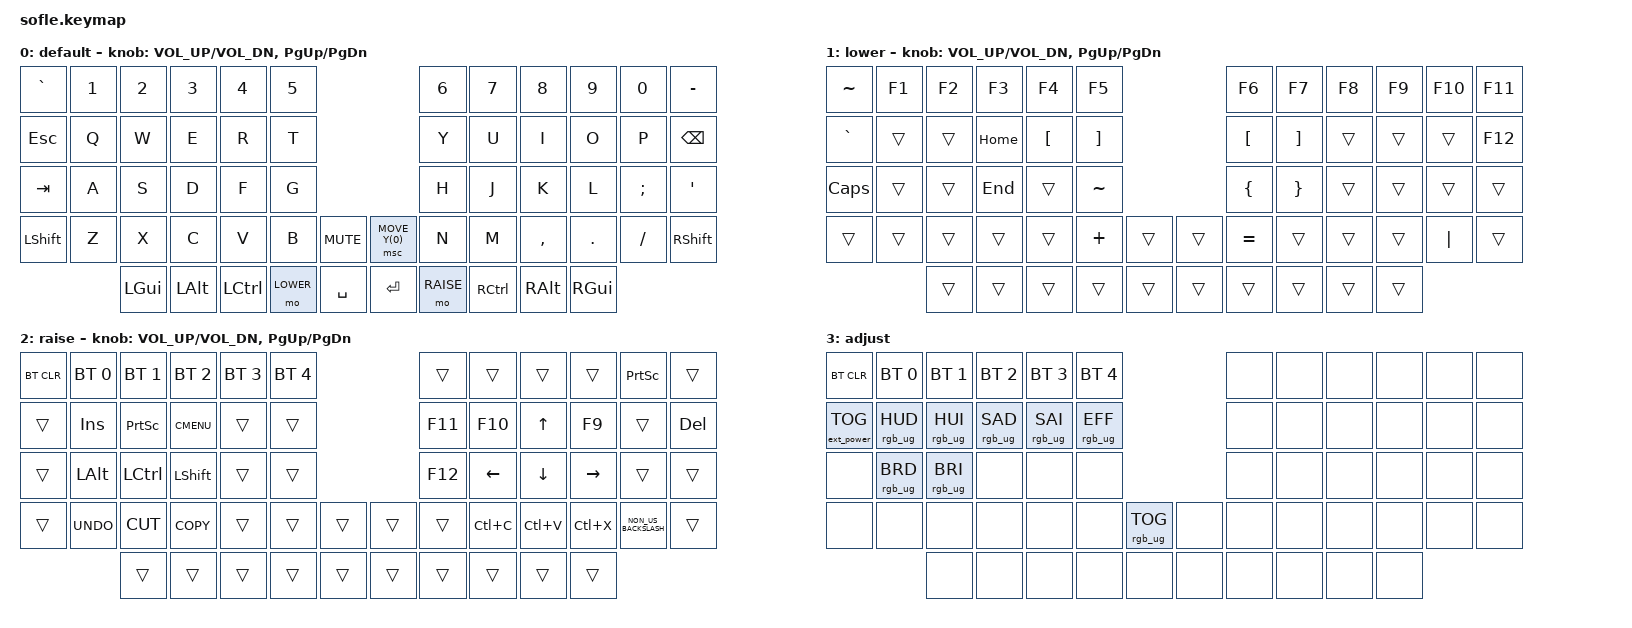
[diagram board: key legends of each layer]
/*
 * Copyright (c) 2020 The ZMK Contributors
 *
 * SPDX-License-Identifier: MIT
 */

#include <behaviors.dtsi>
#include <dt-bindings/zmk/bt.h>
#include <dt-bindings/zmk/ext_power.h>
#include <dt-bindings/zmk/keys.h>
#include <dt-bindings/zmk/pointing.h>
#include <dt-bindings/zmk/rgb.h>

#define BASE 0
#define LOWER 1
#define RAISE 2
#define ADJUST 3

/ {
    // Activate ADJUST layer by pressing raise and lower

    conditional_layers {
        compatible = "zmk,conditional-layers";

        adjust_layer {
            if-layers = <LOWER RAISE>;
            then-layer = <ADJUST>;
        };
    };

    keymap {
        compatible = "zmk,keymap";

        default_layer {
            display-name = "default";

            // ------------------------------------------------------------------------------------------------------------
            // |   `   |  1  |  2  |  3   |  4   |  5   |                   |  6   |  7    |  8    |  9   |   0   |       |
            // |  ESC  |  Q  |  W  |  E   |  R   |  T   |                   |  Y   |  U    |  I    |  O   |   P   | BKSPC |
            // |  TAB  |  A  |  S  |  D   |  F   |  G   |                   |  H   |  J    |  K    |  L   |   ;   |   '   |
            // | SHIFT |  Z  |  X  |  C   |  V   |  B   |  MUTE  |  |       |  N   |  M    |  ,    |  .   |   /   | SHIFT |
            //               | GUI | ALT  | CTRL | LOWER|  ENTER |  | SPACE | RAISE| CTRL  | ALT   | GUI  |

            bindings = <
&kp GRAVE  &kp N1  &kp N2    &kp N3    &kp N4     &kp N5                                   &kp N6     &kp N7     &kp N8     &kp N9    &kp N0    &kp MINUS
&kp ESC    &kp Q   &kp W     &kp E     &kp R      &kp T                                    &kp Y      &kp U      &kp I      &kp O     &kp P     &kp BSPC
&kp TAB    &kp A   &kp S     &kp D     &kp F      &kp G                                    &kp H      &kp J      &kp K      &kp L     &kp SEMI  &kp SQT
&kp LSHFT  &kp Z   &kp X     &kp C     &kp V      &kp B      &kp C_MUTE    &msc MOVE_Y(0)  &kp N      &kp M      &kp COMMA  &kp DOT   &kp FSLH  &kp RSHFT
                   &kp LGUI  &kp LALT  &kp LCTRL  &mo LOWER  &kp SPACE     &kp ENTER       &mo RAISE  &kp RCTRL  &kp RALT   &kp RGUI
            >;

            sensor-bindings = <&inc_dec_kp C_VOL_UP C_VOL_DN &inc_dec_kp PG_UP PG_DN>;
        };

        lower_layer {
            display-name = "lower";

            // TODO: Some binds are waiting for shifted keycode support.
            // ------------------------------------------------------------------------------------------------------------
            // |       |  F1 |  F2 |  F3  |  F4  |  F5  |                   |  F6  |  F7   |  F8   |  F9  |  F10  |  F11  |
            // |   `   |  1  |  2  |  3   |  4   |  5   |                   |  6   |  7    |  8    |  9   |   0   |  F12  |
            // |       |  !  |  @  |  #   |  $   |  %   |                   |  ^   |  &    |  *    |  (   |   )   |   |   |
            // |       |  =  |  -  |  +   |  {   |  }   |        |  |       |  [   |  ]    |  ;    |  :   |   \   |       |
            //               |     |      |      |      |        |  |       |      |       |       |      |

            bindings = <
&kp TILDE  &kp F1  &kp F2  &kp F3    &kp F4            &kp F5                               &kp F6            &kp F7             &kp F8  &kp F9  &kp F10   &kp F11
&kp GRAVE  &trans  &trans  &kp HOME  &kp LEFT_BRACKET  &kp RIGHT_BRACKET                    &kp LEFT_BRACKET  &kp RIGHT_BRACKET  &trans  &trans  &trans    &kp F12
&kp CAPS   &trans  &trans  &kp END   &trans            &kp TILDE                            &kp LEFT_BRACE    &kp RIGHT_BRACE    &trans  &trans  &trans    &trans
&trans     &trans  &trans  &trans    &trans            &kp PLUS           &trans    &trans  &kp EQUAL         &trans             &trans  &trans  &kp PIPE  &trans
                   &trans  &trans    &trans            &trans             &trans    &trans  &trans            &trans             &trans  &trans
            >;

            sensor-bindings = <&inc_dec_kp C_VOL_UP C_VOL_DN &inc_dec_kp PG_UP PG_DN>;
        };

        raise_layer {
            display-name = "raise";

            // ------------------------------------------------------------------------------------------------------------
            // | BTCLR | BT1  | BT2  |  BT3  |  BT4  |  BT5 |                |      |      |       |      |       |       |
            // |       | INS  | PSCR | GUI   |       |      |                | PGUP |      |   ^   |      |       |       |
            // |       | ALT  | CTRL | SHIFT |       | CAPS |                | PGDN |   <- |   v   |  ->  |  DEL  | BKSPC |
            // |       | UNDO | CUT  | COPY  | PASTE |      |      |  |      |      |      |       |      |       |       |
            //                |      |       |       |      |      |  |      |      |      |       |      |

            bindings = <
&bt BT_CLR  &bt BT_SEL 0  &bt BT_SEL 1  &bt BT_SEL 2  &bt BT_SEL 3  &bt BT_SEL 4                    &trans   &trans     &trans     &trans     &kp PRINTSCREEN       &trans
&trans      &kp INS       &kp PSCRN     &kp K_CMENU   &trans        &trans                          &kp F11  &kp F10    &kp UP     &kp F9     &trans                &kp DELETE
&trans      &kp LALT      &kp LCTRL     &kp LSHFT     &trans        &trans                          &kp F12  &kp LEFT   &kp DOWN   &kp RIGHT  &trans                &trans
&trans      &kp K_UNDO    &kp K_CUT     &kp K_COPY    &trans        &trans        &trans    &trans  &trans   &kp LC(C)  &kp LC(V)  &kp LC(X)  &kp NON_US_BACKSLASH  &trans
                          &trans        &trans        &trans        &trans        &trans    &trans  &trans   &trans     &trans     &trans
            >;

            sensor-bindings = <&inc_dec_kp C_VOL_UP C_VOL_DN &inc_dec_kp PG_UP PG_DN>;
        };

        adjust_layer {
            // ----------------------------------------------------------------------------------------------------------------------------
            // | BTCLR  |  BT1    |  BT2    |   BT3   |   BT4   |   BT5   |                  |      |      |       |      |       |       |
            // | EXTPWR | RGB_HUD | RGB_HUI | RGB_SAD | RGB_SAI | RGB_EFF |                  |      |      |       |      |       |       |
            // |        | RGB_BRD | RGB_BRI |         |         |         |                  |      |      |       |      |       |       |
            // |        |         |         |         |         |         | RGB_TOG | |      |      |      |       |      |       |       |
            //                    |         |         |         |         |         | |      |      |      |       |      |

            display-name = "adjust";
            bindings = <
&bt BT_CLR         &bt BT_SEL 0     &bt BT_SEL 1     &bt BT_SEL 2     &bt BT_SEL 3     &bt BT_SEL 4                               &none  &none  &none  &none  &none  &none
&ext_power EP_TOG  &rgb_ug RGB_HUD  &rgb_ug RGB_HUI  &rgb_ug RGB_SAD  &rgb_ug RGB_SAI  &rgb_ug RGB_EFF                            &none  &none  &none  &none  &none  &none
&none              &rgb_ug RGB_BRD  &rgb_ug RGB_BRI  &none            &none            &none                                      &none  &none  &none  &none  &none  &none
&none              &none            &none            &none            &none            &none            &rgb_ug RGB_TOG    &none  &none  &none  &none  &none  &none  &none
                                    &none            &none            &none            &none            &none              &none  &none  &none  &none  &none
            >;
        };
    };
};
